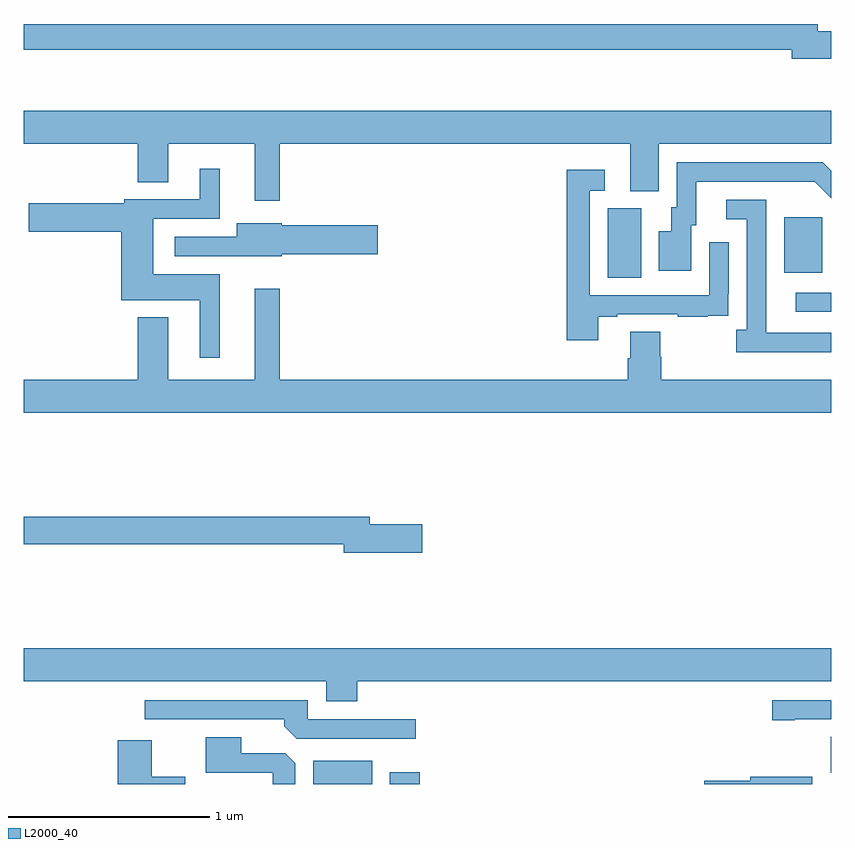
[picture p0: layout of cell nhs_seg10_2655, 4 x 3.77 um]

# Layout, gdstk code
import gdstk
lib = gdstk.Library(unit=1e-6, precision=1e-09)
def R(c, l, rs):  # rectangles x0, y0, x1, y1
    for r in rs: c.add(gdstk.rectangle(r[:2], r[2:], *l))
def P(c, l, *ps):  # polygons
    for p in ps: c.add(gdstk.Polygon(p, *l))
L2000_40 = (2000, 40)

nhs_seg10_2655 = lib.new_cell('nhs_seg10_2655')
R(nhs_seg10_2655, L2000_40, [(256.433,1274.5,256.726,1274.614), (256.814,1274.5,256.961,1274.557), (258.998,1274.556,259,1274.735), (258.825,1276.839,259,1276.935), (257.894,1277.008,258.058,1277.352), (258.767,1277.033,258.955,1277.308)])
P(nhs_seg10_2655, L2000_40, [(259,1278.23),(258.934,1278.23),(258.934,1278.266),(255,1278.266),(255,1278.138),(258.806,1278.138),(258.806,1278.095),(259,1278.095)],
  [(256.267,1277.672),(258.005,1277.672),(258.005,1277.437),(258.145,1277.437),(258.145,1277.672),(259,1277.672),(259,1277.836),(255,1277.836),(255,1277.672),(255.563,1277.672),(255.563,1277.482),(255.715,1277.482),(255.715,1277.672),(256.145,1277.672),(256.145,1277.391),(256.267,1277.391)],
  [(258.307,1277.268),(258.331,1277.268),(258.331,1277.484),(258.919,1277.484),(259,1277.402),(259,1277.538),(258.958,1277.58),(258.234,1277.58),(258.234,1277.358),(258.209,1277.358),(258.209,1277.239),(258.146,1277.239),(258.146,1277.043),(258.307,1277.043)],
  [(255.97,1277.026),(255.64,1277.026),(255.64,1277.301),(255.97,1277.301),(255.97,1277.548),(255.872,1277.548),(255.872,1277.397),(255.498,1277.397),(255.498,1277.379),(255.024,1277.379),(255.024,1277.237),(255.482,1277.237),(255.482,1276.898),(255.872,1276.898),(255.872,1276.611),(255.97,1276.611)],
  [(257.845,1276.815),(257.941,1276.815),(257.941,1276.827),(258.241,1276.827),(258.241,1276.815),(258.389,1276.815),(258.389,1276.821),(258.491,1276.821),(258.491,1276.93),(258.492,1276.93),(258.492,1277.185),(258.396,1277.185),(258.396,1276.923),(257.805,1276.923),(257.805,1277.439),(257.878,1277.439),(257.878,1277.545),(257.689,1277.545),(257.689,1276.698),(257.845,1276.698)],
  [(259,1276.737),(258.679,1276.737),(258.679,1276.937),(258.678,1276.937),(258.678,1277.394),(258.48,1277.394),(258.48,1277.298),(258.582,1277.298),(258.582,1276.75),(258.531,1276.75),(258.531,1276.64),(259,1276.64)],
  [(256.278,1277.126),(256.753,1277.126),(256.753,1277.268),(256.278,1277.268),(256.278,1277.278),(256.055,1277.278),(256.055,1277.211),(255.747,1277.211),(255.747,1277.115),(256.059,1277.115),(256.059,1277.114),(256.278,1277.114)],
  [(259,1276.504),(258.158,1276.504),(258.158,1276.617),(258.153,1276.617),(258.153,1276.742),(258.005,1276.742),(258.005,1276.61),(257.993,1276.61),(257.993,1276.504),(256.267,1276.504),(256.267,1276.954),(256.145,1276.954),(256.145,1276.504),(255.715,1276.504),(255.715,1276.813),(255.563,1276.813),(255.563,1276.504),(255,1276.504),(255,1276.34),(259,1276.34)],
  [(256.975,1275.788),(256.714,1275.788),(256.714,1275.824),(255,1275.824),(255,1275.688),(256.586,1275.688),(256.586,1275.646),(256.975,1275.646)],
  [(256.652,1275.008),(259,1275.008),(259,1275.172),(255,1275.172),(255,1275.008),(256.499,1275.008),(256.499,1274.909),(256.652,1274.909)],
  [(258.82,1274.82),(259,1274.82),(259,1274.916),(258.708,1274.916),(258.708,1274.815),(258.82,1274.815)],
  [(256.942,1274.82),(256.407,1274.82),(256.407,1274.916),(255.6,1274.916),(255.6,1274.82),(256.291,1274.82),(256.291,1274.786),(256.353,1274.724),(256.942,1274.724)],
  [(256.345,1274.603),(256.296,1274.652),(256.078,1274.652),(256.078,1274.731),(255.902,1274.731),(255.902,1274.556),(256.233,1274.556),(256.233,1274.5),(256.345,1274.5)],
  [(255.799,1274.536),(255.634,1274.536),(255.634,1274.716),(255.464,1274.716),(255.464,1274.5),(255.799,1274.5)],
  [(258.907,1274.536),(258.599,1274.536),(258.599,1274.516),(258.372,1274.516),(258.372,1274.5),(258.907,1274.5)])

lib.write_gds('nhs_seg10_2655.gds')
